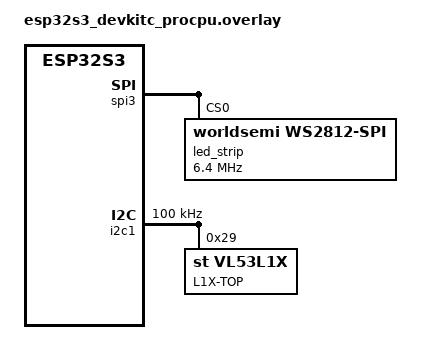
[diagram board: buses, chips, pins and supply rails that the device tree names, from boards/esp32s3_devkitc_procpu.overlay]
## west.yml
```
# west.yml (at the root of your app repo)
manifest:
  version: "0.13"

  remotes:
    - name: zephyrproject-rtos
      url-base: https://github.com/zephyrproject-rtos

  projects:
    - name: zephyr
      remote: zephyrproject-rtos
      revision: v4.2.0        # <-- pin the Zephyr version/tag/sha you want
      import:
        path-prefix: deps     # optional: place imported projects under deps/
        name-allowlist:
          - modules
          - tools
          - hal
          - bootloader
          - cmsis
    - name: hal_espressif
      remote: zephyrproject-rtos
      revision: main
      path: modules/hal/espressif

  self:
    path: app                 # how your app will appear inside the workspace
```

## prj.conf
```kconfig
## Enable console output
CONFIG_SERIAL=y
CONFIG_UART_CONSOLE=y
CONFIG_CONSOLE=y
CONFIG_PRINTK=y

CONFIG_I2C=y
CONFIG_GPIO=y

# dtof enable
CONFIG_VL53L1X=y
CONFIG_SENSOR=y
#debug
CONFIG_DEBUG=y
CONFIG_LOG=y
CONFIG_SENSOR_LOG_LEVEL_DBG=y
CONFIG_CBPRINTF_FP_SUPPORT=y
CONFIG_VL53L1X_INTERRUPT_MODE=n

# LED
CONFIG_LED_STRIP=y
CONFIG_LED_STRIP_LOG_LEVEL_DBG=y
```

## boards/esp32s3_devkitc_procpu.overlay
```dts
#include <zephyr/dt-bindings/led/led.h>

/ {
    aliases {
        i2c1 = &i2c1;
        vl53l1x = &vl53l1x;
		led-strip = &led_strip;
    };

};

&spi3 {
	/* Workaround to support WS2812 driver */
	line-idle-low;
	led_strip: ws2812@0 {
		compatible = "worldsemi,ws2812-spi";

		/* SPI */
		reg = <0>; /* ignored, but necessary for SPI bindings */
		spi-max-frequency = <6400000>;

		/* WS2812 */
		chain-length = <1>; /* arbitrary; change at will */
		spi-cpha;
		spi-one-frame = <0xf0>; /* 11110000: 625 ns high and 625 ns low */
		spi-zero-frame = <0xc0>; /* 11000000: 312.5 ns high and 937.5 ns low */
		color-mapping = <LED_COLOR_ID_BLUE
				 LED_COLOR_ID_RED
				 LED_COLOR_ID_GREEN>;
	};
};

&pinctrl {
    i2c1_default: i2c1_default {
        group1 {
            pinmux = <I2C1_SCL_GPIO17>,
                    <I2C1_SDA_GPIO18>;
            bias-pull-up;
            drive-open-drain;
            output-high;
        };
    };
	spim3_default: spim3_default {
		group2 {
			pinmux = <SPIM3_MOSI_GPIO48>;
		};
	};
};

&i2c1 {
    status = "okay";
    clock-frequency = <I2C_BITRATE_STANDARD>;
    pinctrl-0 = <&i2c1_default>;
    vl53l1x: vl53l1x@29 {
        compatible = "st,vl53l1x";
        friendly-name = "top-view";
        label = "L1X-TOP";
        reg = <0x29>;
    };
};
```

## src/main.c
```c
#include <zephyr/kernel.h>
#include <zephyr/device.h>
#include <zephyr/drivers/sensor.h>
#include <stdio.h>
#include <zephyr/sys/printk.h>
#include <zephyr/drivers/led_strip.h>

#define MY_I2C      DT_ALIAS(i2c1)
#define L1X_TOP     DT_ALIAS(vl53l1x)
#define RGB         DT_ALIAS(led_strip)

int main(void)
{
    const struct device *const i2c_dev = DEVICE_DT_GET(MY_I2C);
    const struct device *const l1x_top = DEVICE_DT_GET(L1X_TOP);
    const struct device *const rgb = DEVICE_DT_GET(RGB);

    struct led_rgb pixel = {0, 0, 0};
    int ret = 0;
	struct sensor_value value;
    if (!device_is_ready(i2c_dev)) {
        printk("I2C device not ready!\n");
        ret = -ENODEV;
        goto exit;
    }
    if (!device_is_ready(l1x_top)) {
        printk("vl53l1x not ready!\n");
        ret = -ENODEV;
        goto exit;
    }
    if (!device_is_ready(rgb)) {
        printk("LED not ready!\n");
        return -ENODEV;
    }
    printk("Prototyper begin!\n");
    for (;;) {
		ret = sensor_sample_fetch(l1x_top);
		if (ret) {
			printk("sensor_sample_fetch failed ret %d\n", ret);
			ret = -ENODATA;
			goto exit;
		}

		ret = sensor_channel_get(l1x_top,
					 SENSOR_CHAN_DISTANCE,
					 &value);
		double distance = sensor_value_to_double(&value);
		if (distance < 30) {
		    pixel.r = 0xf;
		    pixel.g = 0xf;
		    pixel.b = 0xf;
		} else if (distance < 100 && distance > 30) {
		    pixel.r = (uint8_t)((distance / 100.0) * 32.0);
		    pixel.g = 0x00;
		    pixel.b = 0x00;
		} else if (distance > 500 && distance > 100) {
		    pixel.r = 0x00;
		    pixel.g = (uint8_t)((distance / 500.0) * 32.0);
		    pixel.b = 0x00;
		} else {
		    pixel.r = 0x00;
		    pixel.g = 0x00;
		    pixel.b = (uint8_t)((distance / 2000.0) * 32.0);
		}
		ret = led_strip_update_rgb(rgb, &pixel, 1);
		if (ret) {
		    printk("Couldn't set LED\n");
		}
		printk("distance: %dmm\n", (int)distance);
		k_sleep(K_MSEC(50));
    }
exit:
    return ret;
}
```
